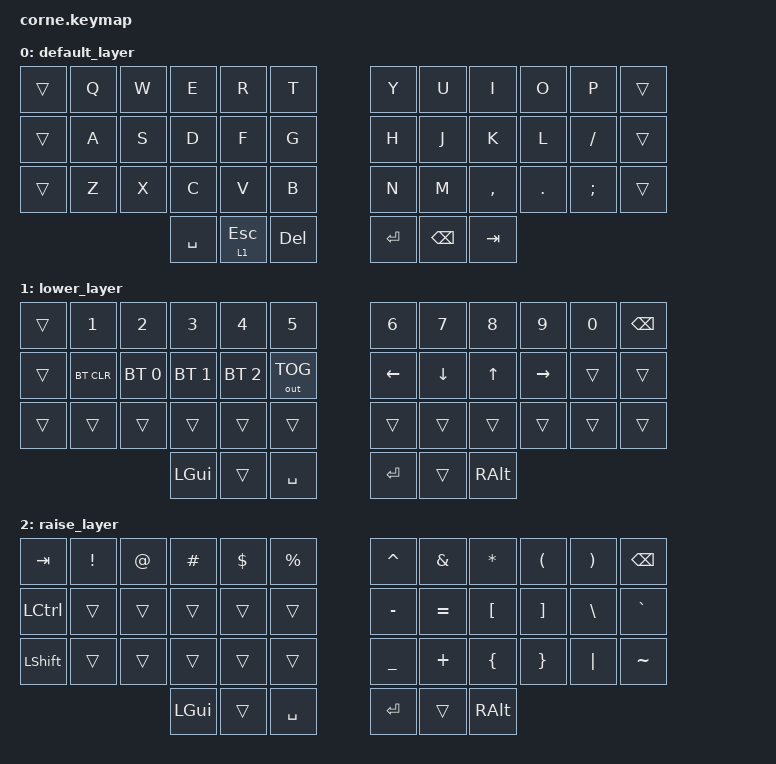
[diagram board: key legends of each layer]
/*
 * Copyright (c) 2020 The ZMK Contributors
 *
 * SPDX-License-Identifier: MIT
 */

#include <behaviors.dtsi>
#include <dt-bindings/zmk/keys.h>
#include <dt-bindings/zmk/bt.h>
#include <dt-bindings/zmk/outputs.h>

/ {
        keymap {
                compatible = "zmk,keymap";

                default_layer {
                        bindings = <
   &trans &kp Q &kp W &kp E &kp R &kp T   &kp Y &kp U  &kp I     &kp O   &kp P    &trans
   &trans &kp A &kp S &kp D &kp F &kp G   &kp H &kp J  &kp K     &kp L   &kp FSLH &trans
   &trans &kp Z &kp X &kp C &kp V &kp B   &kp N &kp M  &kp COMMA &kp DOT &kp SEMI &trans
                  &kp SPACE &lt 1 ESC &kp DEL   &kp RET &kp BSPC &kp TAB
                        >;
                };
                
                lower_layer {
                        bindings = <
   &trans  &kp N1       &kp N2       &kp N3       &kp N4       &kp N5         &kp N6   &kp N7   &kp N8 &kp N9    &kp N0 &kp BSPC
   &trans  &bt BT_CLR &bt BT_SEL 0 &bt BT_SEL 1 &bt BT_SEL 2 &out OUT_TOG   &kp LEFT &kp DOWN &kp UP &kp RIGHT &trans &trans
   &trans  &trans       &trans       &trans       &trans       &trans         &trans   &trans   &trans &trans    &trans &trans
                                    &kp LGUI     &trans       &kp SPACE      &kp RET  &trans   &kp RALT
                        >;
                };

                raise_layer {
                        bindings = <
   &kp  TAB  &kp EXCL &kp AT &kp HASH &kp DLLR &kp PRCNT   &kp CARET &kp AMPS  &kp ASTRK &kp LPAR &kp RPAR &kp BSPC
   &kp LCTRL &trans   &trans &trans   &trans   &trans      &kp MINUS &kp EQUAL &kp LBKT  &kp RBKT &kp BSLH &kp GRAVE
   &kp LSHFT &trans   &trans &trans   &trans   &trans      &kp UNDER &kp PLUS  &kp LBRC  &kp RBRC &kp PIPE &kp TILDE
                             &kp LGUI &trans   &kp SPACE   &kp RET   &trans    &kp RALT
                        >;
                };
        };
};
